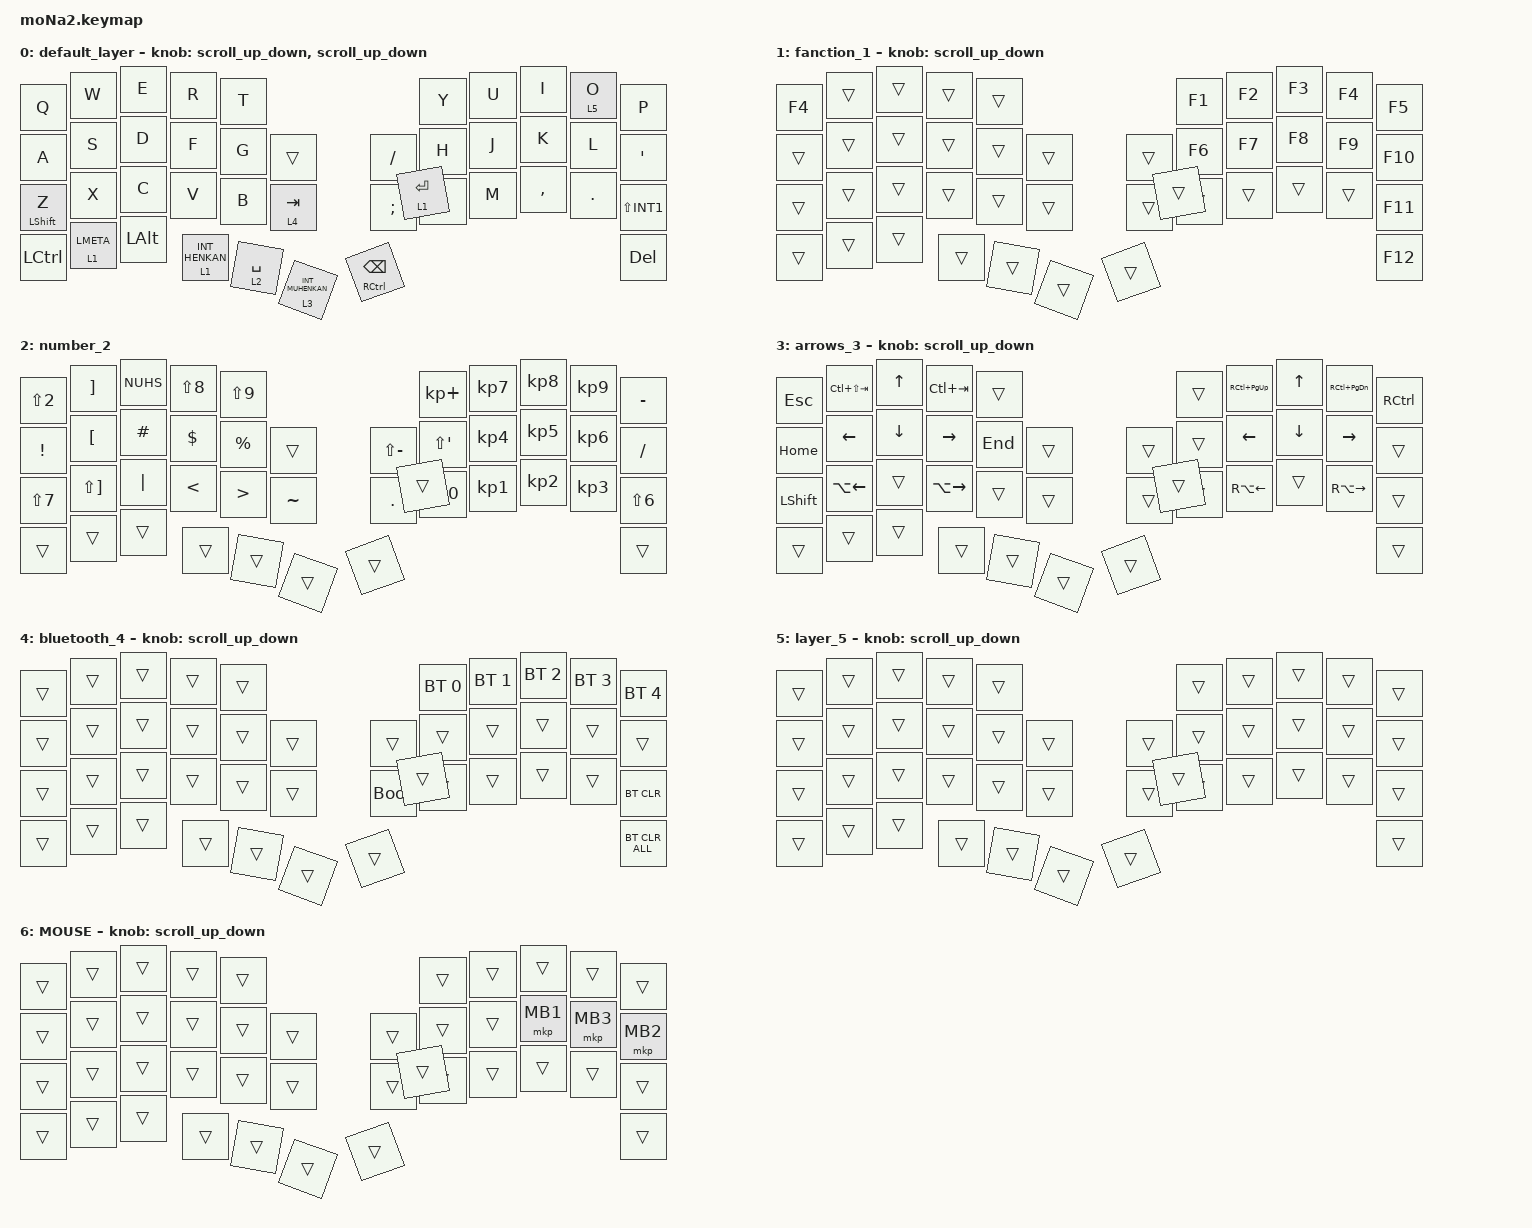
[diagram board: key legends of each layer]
#include <behaviors.dtsi>
#include <dt-bindings/zmk/bt.h>
#include <dt-bindings/zmk/keys.h>
#include <dt-bindings/zmk/pointing.h>

#define ZMK_POINTING_DEFAULT_SCRL_VAL 100
#define MOUSE 6

&mt {
    flavor = "balanced";
    quick-tap-ms = <0>;
    tapping-term-ms = <120>;
};

/ {
    combos {
        compatible = "zmk,combos";

        tab {
            bindings = <&kp TAB>;
            key-positions = <11 12>;
            layers = <0>;
        };

        stab {
            bindings = <&kp LS(TAB)>;
            key-positions = <12 13>;
        };
    };

    macros {
        to_layer_0: to_layer_0 {
            compatible = "zmk,behavior-macro-one-param";
            #binding-cells = <1>;
            bindings = <&to 0 &macro_param_1to1 &kp MACRO_PLACEHOLDER>;
            label = "TO_LAYER_0";
        };
    };

    behaviors {
        lt_to_layer_0: lt_to_layer_0 {
            compatible = "zmk,behavior-hold-tap";
            label = "LAYER_TAP_TO_0";
            bindings = <&mo>, <&to_layer_0>;

            #binding-cells = <2>;
            tapping-term-ms = <120>;
        };

        scroll_up_down: behavior_sensor_rotate_mouse_wheel_up_down {
            compatible = "zmk,behavior-sensor-rotate";
            #sensor-binding-cells = <0>;
            bindings = <&msc SCRL_UP>, <&msc SCRL_DOWN>;

            tap-ms = <20>;
        };
    };

    keymap {
        compatible = "zmk,keymap";

        default_layer {
            bindings = <
&kp Q             &kp W        &kp E         &kp R             &kp T                                                           &kp Y        &kp U  &kp I      &lt 5 O  &kp P
&kp A             &kp S        &kp D         &kp F             &kp G        &trans                &kp SLASH                    &kp H        &kp J  &kp K      &kp L    &kp SQT
&mt LEFT_SHIFT Z  &kp X        &kp C         &kp V             &kp B        &lt 4 TAB             &kp SEMICOLON                &kp N        &kp M  &kp COMMA  &kp DOT  &kp LS(INT1)
&kp LCTRL         &lt 1 LMETA  &kp LEFT_ALT  &lt 1 INT_HENKAN  &lt 2 SPACE  &lt 3 INT_MUHENKAN    &mt RIGHT_CONTROL BACKSPACE  &lt 1 ENTER                             &kp DEL
            >;

            sensor-bindings = <&scroll_up_down>, <&scroll_up_down>;
        };

        fanction_1 {
            bindings = <
&kp F4  &trans  &trans  &trans  &trans                    &kp F1  &kp F2  &kp F3  &kp F4  &kp F5
&trans  &trans  &trans  &trans  &trans  &trans    &trans  &kp F6  &kp F7  &kp F8  &kp F9  &kp F10
&trans  &trans  &trans  &trans  &trans  &trans    &trans  &trans  &trans  &trans  &trans  &kp F11
&trans  &trans  &trans  &trans  &trans  &trans    &trans  &trans                          &kp F12
            >;

            sensor-bindings = <&scroll_up_down>;
        };

        number_2 {
            bindings = <
&kp LS(NUMBER_2)  &kp RIGHT_BRACKET      &kp NUHS   &kp LS(NUMBER_8)  &kp LS(NUMBER_9)                              &kp KP_PLUS           &kp KP_NUMBER_7  &kp KP_NUMBER_8  &kp KP_NUMBER_9  &kp MINUS
&kp EXCLAMATION   &kp LEFT_BRACKET       &kp POUND  &kp DLLR          &kp PRCNT         &trans       &kp LS(MINUS)  &kp LS(SINGLE_QUOTE)  &kp KP_NUMBER_4  &kp KP_NUMBER_5  &kp KP_NUMBER_6  &kp SLASH
&kp LS(NUMBER_7)  &kp LS(RIGHT_BRACKET)  &kp PIPE   &kp LESS_THAN     &kp GREATER_THAN  &kp TILDE    &kp PERIOD     &kp KP_NUMBER_0       &kp KP_NUMBER_1  &kp KP_NUMBER_2  &kp KP_NUMBER_3  &kp LS(NUMBER_6)
&trans            &trans                 &trans     &trans            &trans            &trans       &trans         &trans                                                                   &trans
            >;
        };

        arrows_3 {
            bindings = <
&kp ESCAPE      &kp LC(LS(TAB))     &kp UP_ARROW    &kp LC(TAB)          &trans                     &trans  &kp RC(PAGE_UP)     &kp UP_ARROW    &kp RC(PAGE_DOWN)    &kp RIGHT_CONTROL
&kp HOME        &kp LEFT_ARROW      &kp DOWN_ARROW  &kp RIGHT_ARROW      &kp END  &trans    &trans  &trans  &kp LEFT_ARROW      &kp DOWN_ARROW  &kp RIGHT_ARROW      &trans
&kp LEFT_SHIFT  &kp LA(LEFT_ARROW)  &trans          &kp LA(RIGHT_ARROW)  &trans   &trans    &trans  &trans  &kp RA(LEFT_ARROW)  &trans          &kp RA(RIGHT_ARROW)  &trans
&trans          &trans              &trans          &trans               &trans   &trans    &trans  &trans                                                           &trans
            >;

            sensor-bindings = <&scroll_up_down>;
        };

        bluetooth_4 {
            bindings = <
&trans  &trans  &trans  &trans  &trans                         &bt BT_SEL 0  &bt BT_SEL 1  &bt BT_SEL 2  &bt BT_SEL 3  &bt BT_SEL 4
&trans  &trans  &trans  &trans  &trans  &trans    &trans       &trans        &trans        &trans        &trans        &trans
&trans  &trans  &trans  &trans  &trans  &trans    &bootloader  &trans        &trans        &trans        &trans        &bt BT_CLR
&trans  &trans  &trans  &trans  &trans  &trans    &trans       &trans                                                  &bt BT_CLR_ALL
            >;

            sensor-bindings = <&scroll_up_down>;
        };

        layer_5 {
            bindings = <
&trans  &trans  &trans  &trans  &trans                    &trans  &trans  &trans  &trans  &trans
&trans  &trans  &trans  &trans  &trans  &trans    &trans  &trans  &trans  &trans  &trans  &trans
&trans  &trans  &trans  &trans  &trans  &trans    &trans  &trans  &trans  &trans  &trans  &trans
&trans  &trans  &trans  &trans  &trans  &trans    &trans  &trans                          &trans
            >;

            sensor-bindings = <&scroll_up_down>;
        };

        MOUSE {
            bindings = <
&trans  &trans  &trans  &trans  &trans                    &trans  &trans  &trans    &trans    &trans
&trans  &trans  &trans  &trans  &trans  &trans    &trans  &trans  &trans  &mkp MB1  &mkp MB3  &mkp MB2
&trans  &trans  &trans  &trans  &trans  &trans    &trans  &trans  &trans  &trans    &trans    &trans
&trans  &trans  &trans  &trans  &trans  &trans    &trans  &trans                              &trans
            >;

            sensor-bindings = <&scroll_up_down>;
        };
    };
};
